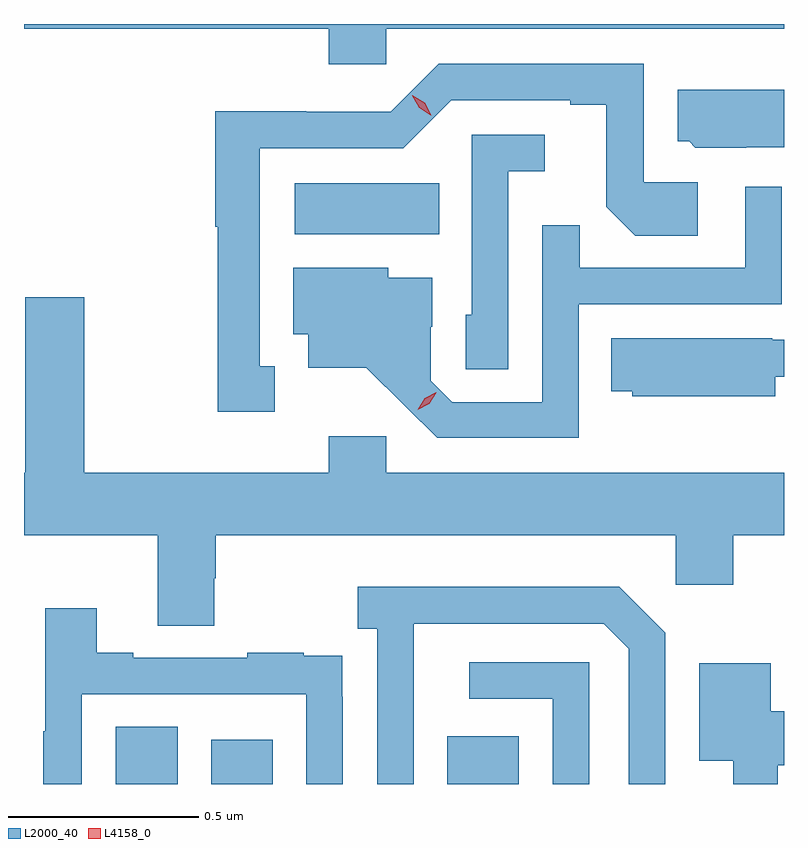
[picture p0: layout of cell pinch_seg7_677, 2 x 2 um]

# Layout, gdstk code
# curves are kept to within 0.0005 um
import gdstk
lib = gdstk.Library(unit=1e-6, precision=1e-09)
def R(c, l, rs):  # rectangles x0, y0, x1, y1
    for r in rs: c.add(gdstk.rectangle(r[:2], r[2:], *l))
def P(c, l, *ps):  # polygons
    for p in ps: c.add(gdstk.Polygon(p, *l))
L2000_40 = (2000, 40)
L4158_0 = (4158, 0)

pinch_seg7_677 = lib.new_cell('pinch_seg7_677')
R(pinch_seg7_677, L2000_40, [(113.15,1022.605,113.314,1022.756), (113.402,1022.605,113.563,1022.722), (114.023,1022.605,114.211,1022.731), (113.622,1024.052,114.002,1024.186)])
P(pinch_seg7_677, L2000_40, [(113.862,1024.592),(114.909,1024.592),(114.909,1024.605),(112.909,1024.605),(112.909,1024.592),(113.711,1024.592),(113.711,1024.499),(113.862,1024.499)],
  [(113.569,1023.705),(113.53,1023.705),(113.53,1024.278),(113.907,1024.278),(114.033,1024.404),(114.347,1024.404),(114.347,1024.392),(114.441,1024.392),(114.441,1024.124),(114.517,1024.048),(114.682,1024.048),(114.682,1024.188),(114.54,1024.188),(114.54,1024.5),(114,1024.5),(113.874,1024.374),(113.652,1024.374),(113.652,1024.376),(113.412,1024.376),(113.412,1024.071),(113.419,1024.071),(113.419,1023.585),(113.569,1023.585)],
  [(114.81,1024.281),(114.909,1024.281),(114.909,1024.432),(114.629,1024.432),(114.629,1024.296),(114.66,1024.296),(114.676,1024.28),(114.81,1024.28)],
  [(114.183,1024.217),(114.28,1024.217),(114.28,1024.314),(114.087,1024.314),(114.087,1023.84),(114.072,1023.84),(114.072,1023.697),(114.183,1023.697)],
  [(114.369,1023.867),(114.903,1023.867),(114.903,1024.177),(114.807,1024.177),(114.807,1023.963),(114.371,1023.963),(114.371,1024.076),(114.273,1024.076),(114.273,1023.609),(114.036,1023.609),(113.979,1023.666),(113.979,1023.808),(113.983,1023.808),(113.983,1023.937),(113.868,1023.937),(113.868,1023.964),(113.618,1023.964),(113.618,1023.788),(113.657,1023.788),(113.657,1023.701),(113.809,1023.701),(113.996,1023.516),(114.369,1023.516)],
  [(113.409,1023.147),(113.414,1023.147),(113.414,1023.26),(114.624,1023.26),(114.624,1023.129),(114.776,1023.129),(114.776,1023.26),(114.909,1023.26),(114.909,1023.424),(113.862,1023.424),(113.862,1023.52),(113.711,1023.52),(113.711,1023.424),(113.067,1023.424),(113.067,1023.886),(112.912,1023.886),(112.912,1023.424),(112.909,1023.424),(112.909,1023.26),(113.261,1023.26),(113.261,1023.022),(113.409,1023.022)],
  [(114.886,1023.677),(114.909,1023.677),(114.909,1023.774),(114.878,1023.774),(114.878,1023.778),(114.454,1023.778),(114.454,1023.638),(114.51,1023.638),(114.51,1023.626),(114.886,1023.626)],
  [(113.934,1022.827),(113.935,1022.827),(113.935,1023.027),(114.435,1023.027),(114.501,1022.961),(114.501,1022.605),(114.597,1022.605),(114.597,1023.003),(114.476,1023.124),(113.787,1023.124),(113.787,1023.014),(113.838,1023.014),(113.838,1022.605),(113.934,1022.605)],
  [(113.061,1022.841),(113.652,1022.841),(113.652,1022.605),(113.748,1022.605),(113.748,1022.834),(113.747,1022.834),(113.747,1022.943),(113.645,1022.943),(113.645,1022.95),(113.497,1022.95),(113.497,1022.937),(113.197,1022.937),(113.197,1022.95),(113.101,1022.95),(113.101,1023.067),(112.965,1023.067),(112.965,1022.744),(112.96,1022.744),(112.96,1022.605),(113.061,1022.605)],
  [(114.396,1022.925),(114.081,1022.925),(114.081,1022.829),(114.3,1022.829),(114.3,1022.605),(114.396,1022.605)],
  [(114.893,1022.654),(114.909,1022.654),(114.909,1022.796),(114.874,1022.796),(114.874,1022.923),(114.686,1022.923),(114.686,1022.666),(114.776,1022.666),(114.776,1022.605),(114.893,1022.605)])
P(pinch_seg7_677, L4158_0, [(113.945,1023.59),(113.945,1023.59),(113.963,1023.62),(113.994,1023.636),(113.994,1023.636),(113.994,1023.635),(113.976,1023.606),(113.945,1023.59)],
  [(113.98,1024.365),(113.949,1024.384),(113.931,1024.416),(113.931,1024.417),(113.931,1024.417),(113.963,1024.398),(113.981,1024.365),(113.981,1024.365)])

lib.write_gds('pinch_seg7_677.gds')
